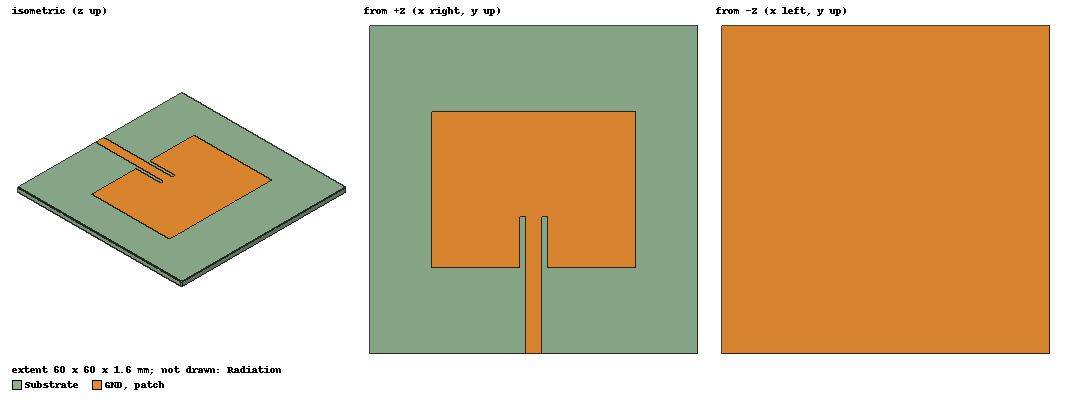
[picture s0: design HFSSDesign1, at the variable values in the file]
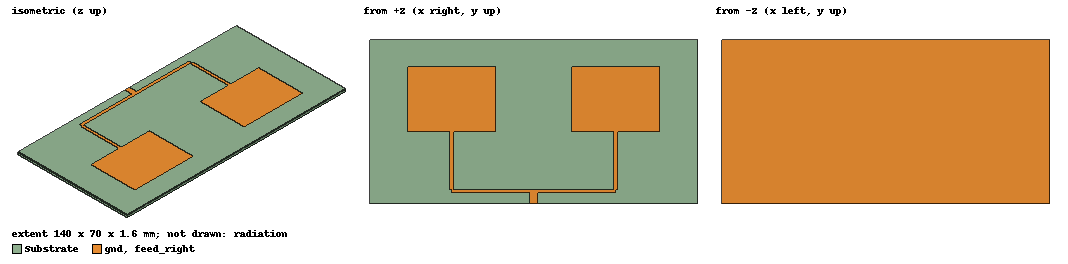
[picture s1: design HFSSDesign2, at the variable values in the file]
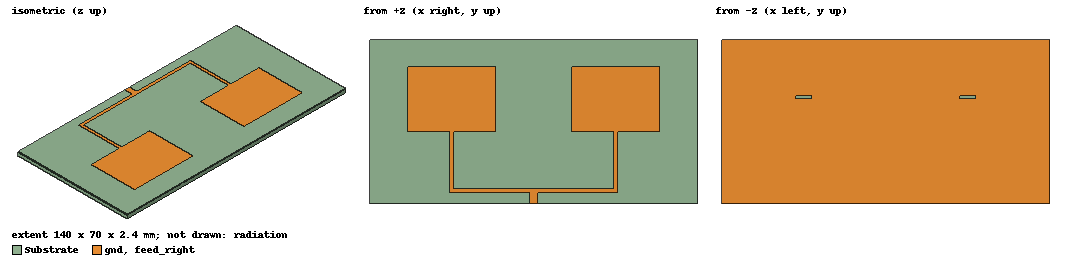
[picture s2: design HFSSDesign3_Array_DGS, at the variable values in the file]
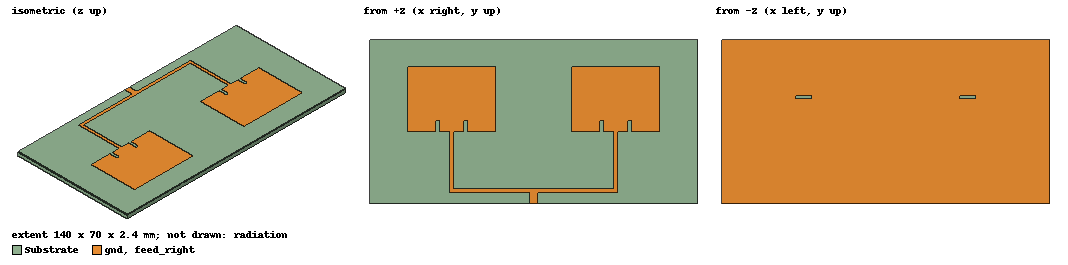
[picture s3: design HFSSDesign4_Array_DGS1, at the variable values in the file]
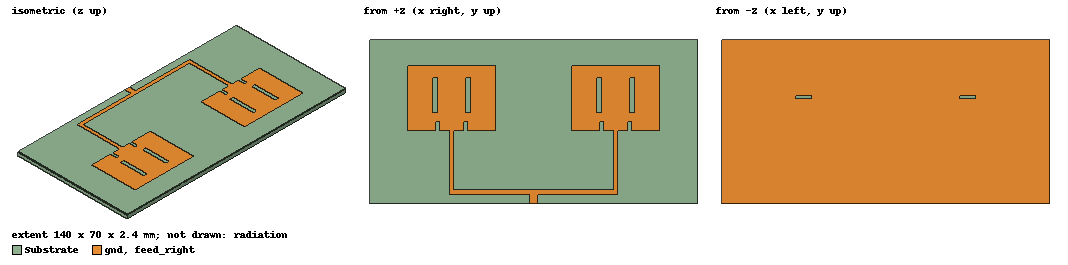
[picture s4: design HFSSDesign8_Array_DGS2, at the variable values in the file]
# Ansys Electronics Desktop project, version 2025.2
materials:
  vacuum: permittivity=1
  FR4_epoxy: permittivity=4.4 dielectric_loss_tangent=0.02

design HFSSDesign1 (HFSS, HFSS Modal Network, model units mm)
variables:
  SubX = 60mm
  SubY = 60mm
  h = 1.6mm
  W = 37.41mm
  L = 28.45mm
  wf = 3.02mm
  Fi = 9.2mm
  g = 1mm
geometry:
  Substrate [FR4_epoxy] = box(corner=(-SubX/2, -SubY/2, 0mm), size=(SubX, SubY, h))
  GND = rectangle(corner=(-SubX/2, -SubY/2, 0mm), x_size=SubX, y_size=SubY)
  patch = rectangle(corner=(-W/2, -L/2, h), x_size=W, y_size=L)
  feed = rectangle(corner=(-Wf/2, -SubY/2, h), x_size=wf, y_size=SubY/2 - L/2 + Fi)
  cut1 = rectangle(corner=(-Wf/2 - g, -L/2, h), x_size=g, y_size=Fi)
  cut2 = rectangle(corner=(Wf/2, -L/2, h), x_size=g, y_size=Fi)
  patch.subtract(cut1, cut2)
  patch.unite(feed)
  port = rectangle(corner=(-Wf/2, -SubY/2, 0mm), y_size=wf, z_size=h)
  Radiation [vacuum] = box(corner=(-SubX/2 - 30mm, -SubY/2 - 30mm, -30mm), size=(SubX + 60mm, SubY + 60mm, h + 60mm))
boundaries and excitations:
  PerfE1: Perfect E Objects=GND
  PerfE2: Perfect E Objects=patch
  Rad1: Radiation Objects=Radiation
  1: Lumped Port Objects=port LumpedPortType=Modal Modes{Mode1{IntLine{(-1.51, -29.245, 1.6) -> (-1.51, -29.245, 0)} CharImp=Zpi RenormImp=50ohm}} Impedance=50ohm
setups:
  Setup1: HfssDriven Frequency=2.45GHz MaxDeltaS=0.02 MaximumPasses=20 MinimumPasses=1 MinimumConvergedPasses=1 PercentRefinement=30 BasisOrder=1 PortAccuracy=2 DrivenSolverType="Direct Solver"
    sweep Sweep: 2GHz to 3GHz step 0.005GHz; Type=Discrete SaveFields
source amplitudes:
  1:1: 1W 0deg
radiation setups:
  Infinite Sphere1: Infinite Sphere Theta=0deg..360deg step 5deg Phi=-180deg..180deg step 2deg
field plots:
  Mag_Jsurf2: Jsurf over patch.face(at (0, -7.8875, 1.6)) on Setup1 : LastAdaptive at Freq=2.45GHz Phase=0deg
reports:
  S Parameter Plot1: dB(S(1,1)) vs Freq on Setup1 : Sweep; markers m1 at 2.4382536GHz, m3 at 2.4866866GHz
  VSWR Plot1: VSWR(1) vs Freq on Setup1 : Sweep; markers m1 at 2.43GHz
  Realized Gain Plot1: dB(RealizedGainPhi), dB(RealizedGainTheta) vs Theta on Setup1 : Sweep, Infinite Sphere1 [Freq=2.5GHz Phi=0deg,90deg]

design HFSSDesign2 (HFSS, HFSS Modal Network, model units mm)
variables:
  SubX = 140mm
  SubY = 70mm
  h = 1.6mm
  w = 37.41mm
  l = 37.35mm
  d = 70mm
  wf1 = 3.02mm
  w70 = 1.65mm
  l70 = 15.15mm
  fi = 9.2mm
  g = 1
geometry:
  Substrate [FR4_epoxy] = box(corner=(-SubX/2, -SubY/2, 0mm), size=(SubX, SubY, h))
  gnd = rectangle(corner=(-SubX/2, -SubY/2, 0mm), x_size=SubX, y_size=SubY)
  patch_Left = rectangle(corner=(-d/2-w/2, -l/2+5mm, h), x_size=w, y_size=l)
  patch_right = rectangle(corner=(d/2-w/2, -l/2+5mm, h), x_size=w, y_size=l)
  cut1_L = rectangle(corner=(-d/2-w70/2-g, -l/2+5mm, h), x_size=g, y_size=fi)
  cut2_L = rectangle(corner=(-d/2+w70/2, -l/2+5mm, h), x_size=g, y_size=fi)
  cut1_R = rectangle(corner=(d/2-w70/2-g, -l/2+5mm, h), x_size=g, y_size=fi)
  cut2_R = rectangle(corner=(d/2+w70/2, -l/2+5mm, h), x_size=g, y_size=fi)
  patch_Left.subtract(cut1_L, cut2_L)
  patch_right.subtract(cut1_R, cut2_R)
  feed_main = rectangle(corner=(-Wf1/2, -SubY/2, h), x_size=wf1, y_size=SubY/2 - l/2 + 5mm - L70)
  feed_horiz = rectangle(corner=(-d/2, -l/2 + 5mm - L70 - W70, h), x_size=d, y_size=w70)
  feed_left = rectangle(corner=(-d/2 - W70/2, -l/2 + 5mm - L70, h), x_size=w70, y_size=L70 + Fi)
  feed_right = rectangle(corner=(d/2 - W70/2, -l/2 + 5mm - L70, h), x_size=w70, y_size=L70 + Fi)
  feed_right.unite(feed_main, feed_left, feed_horiz, patch_Left, patch_right)
  port = rectangle(corner=(-Wf1/2, -SubY/2, 0mm), y_size=wf1, z_size=h)
  radiation [vacuum] = box(corner=(-SubX/2 - 30mm, -SubY/2 - 30mm, -30mm), size=(SubX + 60mm, SubY + 60mm, h + 60mm))
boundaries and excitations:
  PerfE1: Perfect E Objects=gnd
  PerfE2: Perfect E Objects=feed_right
  Rad1: Radiation Objects=radiation
  1: Lumped Port Objects=port LumpedPortType=Modal Modes{Mode1{IntLine{(-1.51, -33.6, 0) -> (-1.51, -33.8, 1.6)} CharImp=Zpi RenormImp=50ohm}} Impedance=50ohm
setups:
  Setup1: HfssDriven Frequency=2.45GHz MaxDeltaS=0.02 MaximumPasses=20 MinimumPasses=1 MinimumConvergedPasses=1 PercentRefinement=30 BasisOrder=1 PortAccuracy=2 DrivenSolverType="Direct Solver"
    sweep Sweep: 2GHz to 3GHz step 0.005GHz; Type=Interpolating InterpTolerance=0.5 InterpMaxSolns=250 InterpUsePortImped=false PassivityErrorTolerance=0.0001
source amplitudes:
  1:1: 1W 0deg
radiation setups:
  Infinite Sphere1: Infinite Sphere Theta=0deg..360deg step 5deg Phi=-180deg..180deg step 2deg
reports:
  S Parameter Plot1: dB(S(1,1)) vs Freq on Setup1 : Sweep; markers m5 at 2.46GHz, m6 at 2.4270315GHz, m7 at 2.495GHz
  Gain Plot2: dB(GainTotal) vs Theta, Phi on Setup1 : LastAdaptive, Infinite Sphere1 [Freq=2.45GHz l=28.45mm]

design HFSSDesign3_Array_DGS (HFSS, HFSS Modal Network, model units mm)
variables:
  SubX = 140mm
  SubY = 70mm
  h = 2.4mm
  w = 37.41mm
  l = 37mm
  d = 70mm
  wf1 = 3.02mm
  w70 = 1.65mm
  l70 = 15.15mm
  fi = 9.2mm
  g = 1
  W_dgs = 7mm
  L_dgs = 1mm
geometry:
  Substrate [FR4_epoxy] = box(corner=(-SubX/2, -SubY/2, 0mm), size=(SubX, SubY, h))
  gnd = rectangle(corner=(-SubX/2, -SubY/2, 0mm), x_size=SubX, y_size=SubY)
  patch_Left = rectangle(corner=(-d/2-w/2, -l/2+5mm, h), x_size=w, y_size=l)
  patch_right = rectangle(corner=(d/2-w/2, -l/2+5mm, h), x_size=w, y_size=l)
  cut1_L = rectangle(corner=(-d/2-w70/2-g, -l/2+5mm, h), x_size=g, y_size=fi)
  cut2_L = rectangle(corner=(-d/2+w70/2, -l/2+5mm, h), x_size=g, y_size=fi)
  cut1_R = rectangle(corner=(d/2-w70/2-g, -l/2+5mm, h), x_size=g, y_size=fi)
  cut2_R = rectangle(corner=(d/2+w70/2, -l/2+5mm, h), x_size=g, y_size=fi)
  patch_Left.subtract(cut1_L, cut2_L)
  patch_right.subtract(cut1_R, cut2_R)
  feed_main = rectangle(corner=(-Wf1/2, -SubY/2, h), x_size=wf1, y_size=SubY/2 - l/2 + 5mm - L70)
  feed_horiz = rectangle(corner=(-d/2 - w70/2, -l/2 + 5mm - L70 - W70, h), x_size=d + w70, y_size=w70)
  feed_left = rectangle(corner=(-d/2 - W70/2, -l/2 + 5mm - L70, h), x_size=w70, y_size=L70 + Fi)
  feed_right = rectangle(corner=(d/2 - W70/2, -l/2 + 5mm - L70, h), x_size=w70, y_size=L70 + Fi)
  feed_right.unite(feed_main, feed_left, feed_horiz, patch_Left, patch_right)
  radiation [vacuum] = box(corner=(-SubX/2 - 30mm, -SubY/2 - 30mm, -30mm), size=(SubX + 60mm, SubY + 60mm, h + 60mm))
  dgs_left = rectangle(corner=(-d/2 - W_dgs/2, 10mm, 0mm), x_size=W_dgs, y_size=L_dgs)
  dgs_right = rectangle(corner=(d/2 - W_dgs/2, 10mm, 0mm), x_size=W_dgs, y_size=L_dgs)
  gnd.subtract(dgs_left, dgs_right)
  port = rectangle(corner=(-wf1/2, -SubY/2, 0mm), z_size=2.4mm, x_size=3.02mm)
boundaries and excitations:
  Rad1: Radiation Objects=radiation
  PerfE_GND: Perfect E Objects=gnd
  PerfE_Patch: Perfect E Objects=feed_right
  1: Lumped Port Objects=port LumpedPortType=Modal Modes{Mode1{IntLine{(0, -35, 0) -> (0, -35, 2.4)} CharImp=Zpi}} Impedance=50ohm
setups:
  Setup1: HfssDriven Frequency=2.45GHz MaxDeltaS=0.02 MaximumPasses=20 MinimumPasses=1 MinimumConvergedPasses=1 PercentRefinement=30 BasisOrder=1 PortAccuracy=2 DrivenSolverType="Direct Solver"
    sweep Sweep: 2GHz to 3GHz step 0.005GHz; Type=Interpolating InterpTolerance=0.5 InterpMaxSolns=250 InterpUsePortImped=false PassivityErrorTolerance=0.0001
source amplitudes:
  1:1: 1W 0deg
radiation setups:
  Infinite Sphere1: Infinite Sphere Theta=0deg..360deg step 5deg Phi=-180deg..180deg step 10deg
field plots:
  Mag_Jsurf1: Jsurf over feed_right.face(at (0, -5.75, 2.4)) on Setup1 : LastAdaptive at Freq=2.45GHz Phase=0deg
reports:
  S Parameter Plot1: dB(S(1,1)) vs Freq on Setup1 : Sweep; markers m5 at 2.445GHz, m7 at 2.485GHz, m8 at 2.3985677GHz
  Gain Plot1: dB(GainTotal) vs Theta on Setup1 : LastAdaptive, Infinite Sphere1 [Phi=all Freq=2.45GHz]
  Gain Plot2: dB(GainTotal) vs Theta on Setup1 : LastAdaptive, Infinite Sphere1 [Phi=all Freq=2.45GHz]
  Gain Plot3: dB(GainTotal) vs Theta on Setup1 : LastAdaptive, Infinite Sphere1 [Phi=all Freq=2.45GHz]
  Gain Plot4: dB(GainTotal) vs Phi, Theta on Setup1 : LastAdaptive, Infinite Sphere1 [Freq=2.45GHz l=36.5mm W_dgs=5.5mm L_dgs=1mm]

design HFSSDesign4_Array_DGS1 (HFSS, HFSS Modal Network, model units mm)
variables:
  SubX = 140mm
  SubY = 70mm
  h = 2.4mm
  w = 37.41mm
  l = 37mm
  d = 70mm
  wf1 = 3.02mm
  w70 = 1.65mm
  l70 = 15.15mm
  fi = 9.2mm
  g = 1
  W_dgs = 7mm
  L_dgs = 1mm
  W_slot = 1.5mm
  L_slot = 14mm
  P_slot = 6mm
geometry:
  Substrate [FR4_epoxy] = box(corner=(-SubX/2, -SubY/2, 0mm), size=(SubX, SubY, h))
  gnd = rectangle(corner=(-SubX/2, -SubY/2, 0mm), x_size=SubX, y_size=SubY)
  patch_Left = rectangle(corner=(-d/2-w/2, -l/2+5mm, h), x_size=w, y_size=l)
  patch_right = rectangle(corner=(d/2-w/2, -l/2+5mm, h), x_size=w, y_size=l)
  cut1_L = rectangle(corner=(-d/2-w70/2-g, -l/2+5mm, h), x_size=g, y_size=fi)
  cut2_L = rectangle(corner=(-d/2+w70/2, -l/2+5mm, h), x_size=g, y_size=fi)
  cut1_R = rectangle(corner=(d/2-w70/2-g, -l/2+5mm, h), x_size=g, y_size=fi)
  cut2_R = rectangle(corner=(d/2+w70/2, -l/2+5mm, h), x_size=g, y_size=fi)
  patch_Left.subtract(cut1_L, cut2_L)
  patch_right.subtract(cut1_R, cut2_R)
  feed_main = rectangle(corner=(-Wf1/2, -SubY/2, h), x_size=wf1, y_size=SubY/2 - l/2 + 5mm - L70)
  feed_horiz = rectangle(corner=(-d/2 - w70/2, -l/2 + 5mm - L70 - W70, h), x_size=d + w70, y_size=w70)
  feed_left = rectangle(corner=(-d/2 - W70/2, -l/2 + 5mm - L70, h), x_size=w70, y_size=L70 + Fi)
  feed_right = rectangle(corner=(d/2 - W70/2, -l/2 + 5mm - L70, h), x_size=w70, y_size=L70 + Fi)
  feed_right.unite(feed_main, feed_left, feed_horiz, patch_Left, patch_right)
  radiation [vacuum] = box(corner=(-SubX/2 - 30mm, -SubY/2 - 30mm, -30mm), size=(SubX + 60mm, SubY + 60mm, h + 60mm))
  dgs_left = rectangle(corner=(-d/2 - W_dgs/2, 10mm, 0mm), x_size=W_dgs, y_size=L_dgs)
  dgs_right = rectangle(corner=(d/2 - W_dgs/2, 10mm, 0mm), x_size=W_dgs, y_size=L_dgs)
  gnd.subtract(dgs_left, dgs_right)
  port = rectangle(corner=(-wf1/2, -SubY/2, 0mm), z_size=2.4mm, x_size=3.02mm)
  slot_left_1 = rectangle(corner=(-d/2 - p_slot - W_slot/2, -l/2 + 5mm, h), x_size=W_slot, y_size=L_slot)
  slot_left_2 = rectangle(corner=(-d/2 + P_slot - W_slot/2, -l/2 + 5mm, h), x_size=W_slot, y_size=L_slot)
  slot_right_1 = rectangle(corner=(d/2 - P_slot - W_slot/2, -l/2 + 5mm, h), x_size=W_slot, y_size=L_slot)
  slot_right_2 = rectangle(corner=(d/2 + P_slot - W_slot/2, -l/2 + 5mm, h), x_size=W_slot, y_size=L_slot)
  feed_right.subtract(slot_left_1, slot_left_2, slot_right_1, slot_right_2)
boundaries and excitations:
  Rad1: Radiation Objects=radiation
  PerfE_GND: Perfect E Objects=gnd
  PerfE_Patch: Perfect E Objects=feed_right
  1: Lumped Port Objects=port LumpedPortType=Modal Modes{Mode1{IntLine{(0, -35, 0) -> (0, -35, 2.4)} CharImp=Zpi}} Impedance=50ohm
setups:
  Setup1: HfssDriven Frequency=2.45GHz MaxDeltaS=0.02 MaximumPasses=20 MinimumPasses=1 MinimumConvergedPasses=1 PercentRefinement=30 BasisOrder=1 PortAccuracy=2 DrivenSolverType="Direct Solver"
    sweep Sweep: 2GHz to 3GHz step 0.005GHz; Type=Interpolating InterpTolerance=0.5 InterpMaxSolns=250 InterpUsePortImped=false PassivityErrorTolerance=0.0001
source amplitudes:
  1:1: 1W 0deg
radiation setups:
  Infinite Sphere1: Infinite Sphere Theta=0deg..360deg step 5deg Phi=-180deg..180deg step 10deg
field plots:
  Mag_Jsurf1: Jsurf over feed_right.face(at (0, -5.75, 2.4)) on Setup1 : LastAdaptive at Freq=2.45GHz Phase=0deg
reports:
  S Parameter Plot1: dB(S(1,1)) vs Freq on Setup1 : Sweep; markers m5 at 2.45GHz, m7 at 2.4933764GHz, m8 at 2.405GHz
  Gain Plot1: dB(GainTotal) vs Theta on Setup1 : LastAdaptive, Infinite Sphere1 [Phi=all Freq=2.45GHz]
  Gain Plot2: dB(GainTotal) vs Theta on Setup1 : LastAdaptive, Infinite Sphere1 [Phi=all Freq=2.45GHz]
  Gain Plot3: dB(GainTotal) vs Theta on Setup1 : LastAdaptive, Infinite Sphere1 [Phi=all Freq=2.45GHz]
  Gain Plot4: dB(GainTotal) vs Theta on Setup1 : LastAdaptive, Infinite Sphere1 [Phi=0deg,90deg Freq=2.45GHz]
  Gain Plot5: dB(GainTotal) vs Phi, Theta on Setup1 : LastAdaptive, Infinite Sphere1 [Freq=2.45GHz]

design HFSSDesign8_Array_DGS2 (HFSS, HFSS Modal Network, model units mm)
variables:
  SubX = 140mm
  SubY = 70mm
  h = 2.4mm
  w = 37.41mm
  l = 37.78mm
  d = 70mm
  wf1 = 3.02mm
  w70 = 2mm
  l70 = 15.15mm
  fi = 10mm
  g = 1
  W_dgs = 7mm
  L_dgs = 1mm
  W_slot = 1.5mm
  L_slot = 14mm
  P_slot = 6mm
  L_eslot = 15mm
  W_eslot = 2mm
  S_eslot = 7mm
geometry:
  Substrate [FR4_epoxy] = box(corner=(-SubX/2, -SubY/2, 0mm), size=(SubX, SubY, h))
  gnd = rectangle(corner=(-SubX/2, -SubY/2, 0mm), x_size=SubX, y_size=SubY)
  patch_Left = rectangle(corner=(-d/2-w/2, -l/2+5mm, h), x_size=w, y_size=l)
  patch_right = rectangle(corner=(d/2-w/2, -l/2+5mm, h), x_size=w, y_size=l)
  cut1_L = rectangle(corner=(-d/2-w70/2-g, -l/2+5mm, h), x_size=g, y_size=fi)
  cut2_L = rectangle(corner=(-d/2+w70/2, -l/2+5mm, h), x_size=g, y_size=fi)
  cut1_R = rectangle(corner=(d/2-w70/2-g, -l/2+5mm, h), x_size=g, y_size=fi)
  cut2_R = rectangle(corner=(d/2+w70/2, -l/2+5mm, h), x_size=g, y_size=fi)
  patch_Left.subtract(cut1_L, cut2_L)
  patch_right.subtract(cut1_R, cut2_R)
  feed_main = rectangle(corner=(-Wf1/2, -SubY/2, h), x_size=wf1, y_size=SubY/2 - l/2 + 5mm - L70)
  feed_horiz = rectangle(corner=(-d/2 - w70/2, -l/2 + 5mm - L70 - W70, h), x_size=d + w70, y_size=w70)
  feed_left = rectangle(corner=(-d/2 - W70/2, -l/2 + 5mm - L70, h), x_size=w70, y_size=L70 + Fi)
  feed_right = rectangle(corner=(d/2 - W70/2, -l/2 + 5mm - L70, h), x_size=w70, y_size=L70 + Fi)
  feed_right.unite(feed_main, feed_left, feed_horiz, patch_Left, patch_right)
  radiation [vacuum] = box(corner=(-SubX/2 - 30mm, -SubY/2 - 30mm, -30mm), size=(SubX + 60mm, SubY + 60mm, h + 60mm))
  dgs_left = rectangle(corner=(-d/2 - W_dgs/2, 10mm, 0mm), x_size=W_dgs, y_size=L_dgs)
  dgs_right = rectangle(corner=(d/2 - W_dgs/2, 10mm, 0mm), x_size=W_dgs, y_size=L_dgs)
  gnd.subtract(dgs_left, dgs_right)
  port = rectangle(corner=(-wf1/2, -SubY/2, 0mm), z_size=2.4mm, x_size=3.02mm)
  slot_left_1 = rectangle(corner=(-d/2 - p_slot - W_slot/2, -l/2 + 5mm, h), x_size=W_slot, y_size=L_slot)
  slot_left_2 = rectangle(corner=(-d/2 + P_slot - W_slot/2, -l/2 + 5mm, h), x_size=W_slot, y_size=L_slot)
  slot_right_1 = rectangle(corner=(d/2 - P_slot - W_slot/2, -l/2 + 5mm, h), x_size=W_slot, y_size=L_slot)
  slot_right_2 = rectangle(corner=(d/2 + P_slot - W_slot/2, -l/2 + 5mm, h), x_size=W_slot, y_size=L_slot)
  feed_right.subtract(slot_left_1, slot_left_2, slot_right_1, slot_right_2)
  E_slot1_L = rectangle(corner=(-43mm, l/2 - L_eslot, 2.4mm), x_size=2mm, y_size=L_eslot)
  E_slot2_L = rectangle(corner=(-29mm, l/2 - L_eslot, 2.4mm), x_size=2mm, y_size=L_eslot)
  E_slot1_R = rectangle(corner=(27mm, l/2 - L_eslot, 2.4mm), x_size=2mm, y_size=L_eslot)
  E_slot2_R = rectangle(corner=(41mm, l/2 - L_eslot, 2.4mm), x_size=2mm, y_size=L_eslot)
  feed_right.subtract(E_slot1_L, E_slot1_R, E_slot2_L, E_slot2_R)
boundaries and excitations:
  Rad1: Radiation Objects=radiation
  PerfE_GND: Perfect E Objects=gnd
  PerfE_Patch: Perfect E Objects=feed_right
  1: Lumped Port Objects=port LumpedPortType=Modal Modes{Mode1{IntLine{(0, -35, 0) -> (0, -35, 2.4)} CharImp=Zpi}} Impedance=50ohm
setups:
  Setup1: HfssDriven Frequency=2.45GHz MaxDeltaS=0.02 MaximumPasses=20 MinimumPasses=1 MinimumConvergedPasses=1 PercentRefinement=30 BasisOrder=1 PortAccuracy=2 DrivenSolverType="Direct Solver"
    sweep Sweep: 2GHz to 3GHz step 0.005GHz; Type=Interpolating InterpTolerance=0.5 InterpMaxSolns=250 InterpUsePortImped=false PassivityErrorTolerance=0.0001
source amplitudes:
  1:1: 1W 0deg
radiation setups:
  Infinite Sphere1: Infinite Sphere Theta=0deg..360deg step 5deg Phi=-180deg..180deg step 10deg
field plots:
  Mag_Jsurf1: Jsurf over feed_right.face(at (0, -5.555, 2.4)) on Setup1 : LastAdaptive at Freq=2.45GHz Phase=0deg
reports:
  S Parameter Plot1: dB(S(1,1)) vs Freq on Setup1 : Sweep; markers m9 at 2.4856364GHz, m11 at 2.445GHz, m15 at 2.4018931GHz
  Gain Plot1: dB(GainTotal) vs Theta on Setup1 : LastAdaptive, Infinite Sphere1 [Phi=all Freq=2.45GHz]
  Gain Plot2: dB(GainTotal) vs Theta on Setup1 : LastAdaptive, Infinite Sphere1 [Phi=all Freq=2.45GHz]
  Gain Plot3: dB(GainTotal) vs Theta on Setup1 : LastAdaptive, Infinite Sphere1 [Phi=all Freq=2.45GHz]
  Gain Plot4: dB(GainTotal) vs Theta on Setup1 : LastAdaptive, Infinite Sphere1 [Phi=0deg,90deg Freq=2.45GHz]
  Gain Plot5: dB(GainTotal) vs Phi, Theta on Setup1 : LastAdaptive, Infinite Sphere1 [Freq=2.45GHz]
